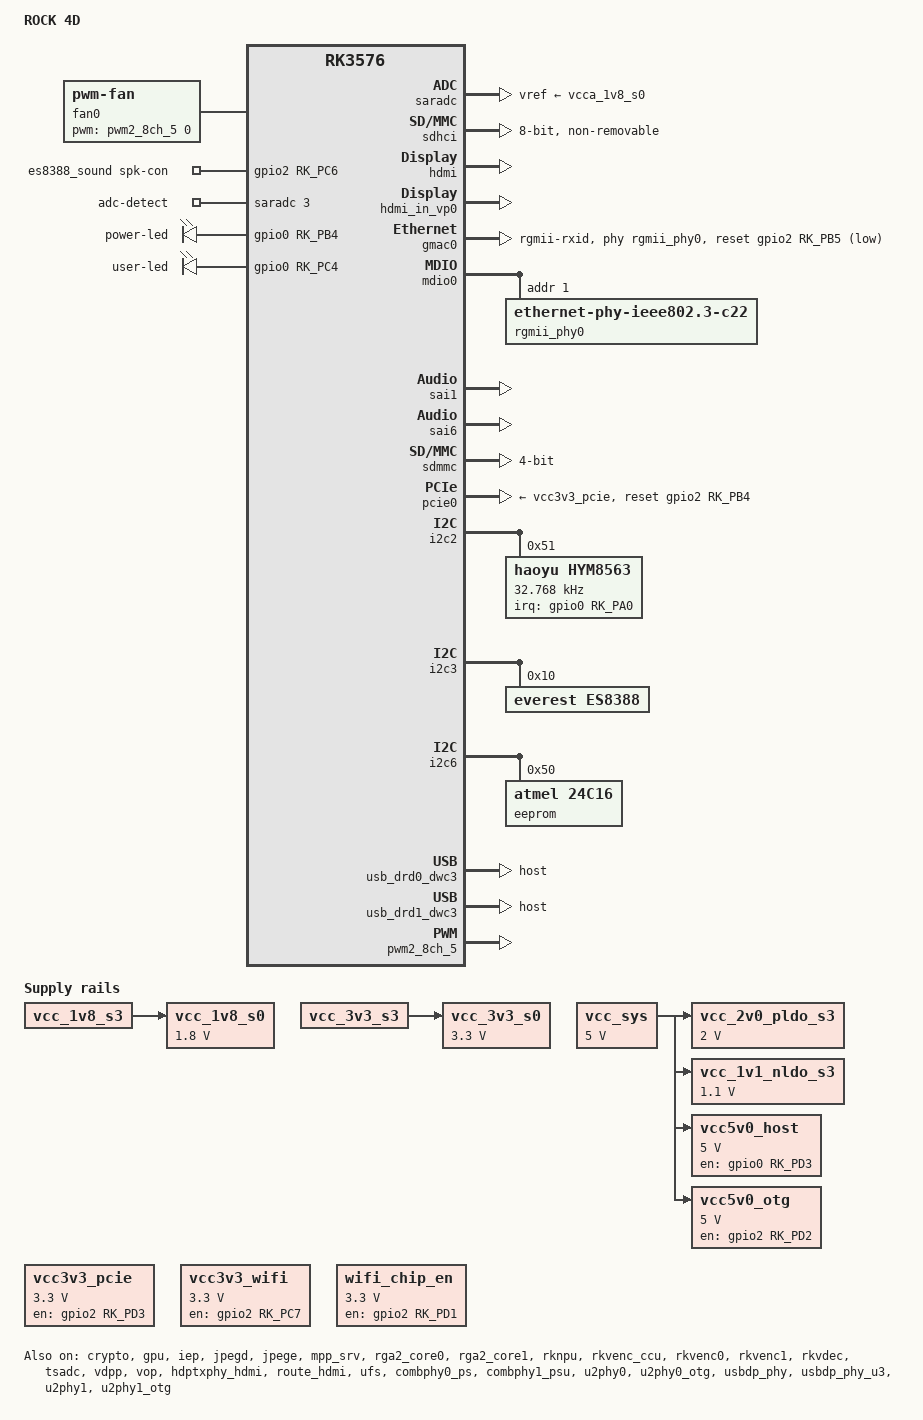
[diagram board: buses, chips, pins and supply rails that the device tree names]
// SPDX-License-Identifier: (GPL-2.0+ OR MIT)
/*
 * Copyright (c) 2024 Rockchip Electronics Co., Ltd.
 * Copyright (c) 2025 Radxa Computer (Shenzhen) Co., Ltd.
 *
 */

/dts-v1/;
#include <dt-bindings/usb/pd.h>
#include <dt-bindings/gpio/gpio.h>
#include <dt-bindings/pwm/pwm.h>
#include <dt-bindings/pinctrl/rockchip.h>
#include <dt-bindings/input/rk-input.h>
#include <dt-bindings/display/drm_mipi_dsi.h>
#include <dt-bindings/display/rockchip_vop.h>
#include <dt-bindings/sensor-dev.h>
#include "rk3576.dtsi"
#include "rk3576-linux.dtsi"
#include "rk3576-rk806.dtsi"
#include "rk3576-rock-4d-panel.dtsi"

/ {
	model = "ROCK 4D";
	compatible = "radxa,rock-4d", "rockchip,rk3576";

	fan0: pwm-fan {
		compatible = "pwm-fan";
		#cooling-cells = <2>;
		cooling-levels = <0 64 128 192 255>;
		pwms = <&pwm2_8ch_5 0 60000 0>;
	};

	vcc_sys: vcc5v0-sys {
		compatible = "regulator-fixed";
		regulator-name = "vcc_sys";
		regulator-always-on;
		regulator-boot-on;
		regulator-min-microvolt = <5000000>;
		regulator-max-microvolt = <5000000>;
	};

	vcc_2v0_pldo_s3: vcc-2v0-pldo-s3 {
		compatible = "regulator-fixed";
		regulator-name = "vcc_2v0_pldo_s3";
		regulator-boot-on;
		regulator-always-on;
		regulator-min-microvolt = <2000000>;
		regulator-max-microvolt = <2000000>;
		vin-supply = <&vcc_sys>;
	};

	vcc_1v1_nldo_s3: vcc-1v1-nldo-s3 {
		compatible = "regulator-fixed";
		regulator-name = "vcc_1v1_nldo_s3";
		regulator-boot-on;
		regulator-always-on;
		regulator-min-microvolt = <1100000>;
		regulator-max-microvolt = <1100000>;
		vin-supply = <&vcc_sys>;
	};

	vcc_1v8_s0: vcc-1v8-s0 {
		compatible = "regulator-fixed";
		regulator-name = "vcc_1v8_s0";
		regulator-boot-on;
		regulator-always-on;
		regulator-min-microvolt = <1800000>;
		regulator-max-microvolt = <1800000>;
		vin-supply = <&vcc_1v8_s3>;
	};

	vcc_3v3_s0: vcc-3v3-s0 {
		compatible = "regulator-fixed";
		regulator-name = "vcc_3v3_s0";
		regulator-boot-on;
		regulator-always-on;
		regulator-min-microvolt = <3300000>;
		regulator-max-microvolt = <3300000>;
		vin-supply = <&vcc_3v3_s3>;
	};

	vcc5v0_host: vcc5v0-host {
		compatible = "regulator-fixed";
		regulator-name = "vcc5v0_host";
		regulator-boot-on;
		regulator-always-on;
		regulator-min-microvolt = <5000000>;
		regulator-max-microvolt = <5000000>;
		enable-active-high;
		gpio = <&gpio0 RK_PD3 GPIO_ACTIVE_HIGH>;
		pinctrl-names = "default";
		pinctrl-0 = <&usb_host_pwren>;
		vin-supply = <&vcc_sys>;
	};

	vcc5v0_otg: vcc5v0-otg {
		compatible = "regulator-fixed";
		regulator-name = "vcc5v0_otg";
		regulator-min-microvolt = <5000000>;
		regulator-max-microvolt = <5000000>;
		enable-active-high;
		gpio = <&gpio2 RK_PD2 GPIO_ACTIVE_HIGH>;
		pinctrl-names = "default";
		pinctrl-0 = <&usb_otg_pwren>;
		vin-supply = <&vcc_sys>;
	};

	vcc3v3_pcie: vcc3v3-pcie {
		compatible = "regulator-fixed";
		regulator-name = "vcc3v3_pcie";
		regulator-min-microvolt = <3300000>;
		regulator-max-microvolt = <3300000>;
		enable-active-high;
		gpios = <&gpio2 RK_PD3 GPIO_ACTIVE_HIGH>;
		startup-delay-us = <5000>;
		pinctrl-names = "default";
		pinctrl-0 = <&pcie_pwr_en>;
	};

	vcc3v3_wifi: vcc3v3-wifi {
		compatible = "regulator-fixed";
		regulator-name = "vcc3v3_wifi";
		regulator-min-microvolt = <3300000>;
		regulator-max-microvolt = <3300000>;
		regulator-boot-on;
		regulator-always-on;
		enable-active-high;
		gpios = <&gpio2 RK_PC7 GPIO_ACTIVE_HIGH>;
		startup-delay-us = <5000>;
		pinctrl-names = "default";
		pinctrl-0 = <&usb_wifi_power_en>;
	};

	wifi_chip_en: wifi-chip-en {
		compatible = "regulator-fixed";
		regulator-name = "wifi_chip_en";
		regulator-min-microvolt = <3300000>;
		regulator-max-microvolt = <3300000>;
		regulator-boot-on;
		regulator-always-on;
		enable-active-high;
		gpios = <&gpio2 RK_PD1 GPIO_ACTIVE_HIGH>;
		startup-delay-us = <5000>;
		pinctrl-names = "default";
		pinctrl-0 = <&wifi_chip_en_pin>;
	};


	hdmi_sound: hdmi-sound {
		compatible = "rockchip,hdmi";
		rockchip,mclk-fs = <128>;
		rockchip,card-name = "rockchip-hdmi0";
		rockchip,cpu = <&sai6>;
		rockchip,codec = <&hdmi>;
		rockchip,jack-det;
	};

	es8388_sound: es8388-sound {
		status = "okay";
		compatible = "rockchip,multicodecs-card";
		rockchip,card-name = "rockchip-es8388";
		io-channels = <&saradc 3>;
		io-channel-names = "adc-detect";
		keyup-threshold-microvolt = <1800000>;
		poll-interval = <100>;
		spk-con-gpio = <&gpio2 RK_PC6 GPIO_ACTIVE_HIGH>;
		rockchip,pre-power-on-delay-ms = <30>;
		rockchip,post-power-down-delay-ms = <40>;
		rockchip,format = "i2s";
		rockchip,mclk-fs = <256>;
		rockchip,cpu = <&sai1>;
		rockchip,codec = <&es8388>;
		rockchip,audio-routing =
			"Headphone", "LOUT1",
			"Headphone", "ROUT1",
			"Speaker", "LOUT2",
			"Speaker", "ROUT2",
			"Headphone", "Headphone Power",
			"Headphone", "Headphone Power",
			"Speaker", "Speaker Power",
			"Speaker", "Speaker Power",
			"LINPUT1", "Main Mic",
			"LINPUT2", "Main Mic",
			"RINPUT1", "Headset Mic",
			"RINPUT2", "Headset Mic";
	};

	gpio-leds {
		compatible = "gpio-leds";

		power-led {
			gpios = <&gpio0 RK_PB4 GPIO_ACTIVE_HIGH>;
			linux,default-trigger = "default-on";
		};

		user-led {
			gpios = <&gpio0 RK_PC4 GPIO_ACTIVE_HIGH>;
			linux,default-trigger = "heartbeat";
		};
	};
};

&cpu_l0 {
	cpu-supply = <&vdd_cpu_lit_s0>;
};

&cpu_b0 {
	cpu-supply = <&vdd_cpu_big_s0>;
};

&crypto {
	status = "okay";
};

&gpu {
	mali-supply = <&vdd_gpu_s0>;
	status = "okay";
};

&iep {
	status = "okay";
};

&iep_mmu {
	status = "okay";
};

&jpegd {
	status = "okay";
};

&jpege {
	status = "okay";
};

&jpeg_mmu {
	status = "okay";
};

&mpp_srv {
	status = "okay";
};

&rga2_core0 {
	status = "okay";
};

&rga2_core0_mmu {
	status = "okay";
};

&rga2_core1 {
	status = "okay";
};

&rga2_core1_mmu {
	status = "okay";
};

&rknpu {
	rknpu-supply = <&vdd_npu_s0>;
	status = "okay";
};

&rknpu_mmu {
	status = "okay";
};

&rkvenc_ccu {
	status = "okay";
};

&rkvenc0 {
	status = "okay";
};

&rkvenc0_mmu {
	status = "okay";
};

&rkvenc1 {
	status = "okay";
};

&rkvenc1_mmu {
	status = "okay";
};

&rkvdec {
	status = "okay";
};

&rkvdec_mmu {
	status = "okay";
};

&rockchip_suspend {
	status = "okay";
	rockchip,sleep-debug-en = <1>;

	rockchip,sleep-io-ret-config = <
		(0
		| RKPM_VCCIO3_RET_EN
		)
	>;

	rockchip,regulator-on-before-mem = <&vdd_npu_s0>;
};

&vdd_logic_s0 {
	regulator-state-mem {
		regulator-on-in-suspend;
	};
};

&vcca_1v8_s0 {
	regulator-state-mem {
		regulator-on-in-suspend;
	};
};

&saradc {
	status = "okay";
	vref-supply = <&vcca_1v8_s0>;
};

&tsadc {
	status = "okay";
};

&threshold {
	temperature = <60000>;
};

&little_core_thermal {
	sustainable-power = <5000>; /* milliwatts */
	cooling-maps {
		map3 {
			trip = <&target>;
			cooling-device =
				<&fan0 THERMAL_NO_LIMIT THERMAL_NO_LIMIT>;
			contribution = <8192>;
		};
		map4 {
			trip = <&threshold>;
			cooling-device =
				<&fan0 THERMAL_NO_LIMIT THERMAL_NO_LIMIT>;
			contribution = <8192>;
		};
	};
};

&sdhci {
	bus-width = <8>;
	no-sdio;
	no-sd;
	non-removable;
	max-frequency = <200000000>;
	mmc-hs400-1_8v;
	mmc-hs400-enhanced-strobe;
	full-pwr-cycle-in-suspend;
	status = "okay";
};

&vdpp {
	status = "okay";
};

&vop {
	status = "okay";
	vop-supply = <&vdd_logic_s0>;
};

&vop_mmu {
	status = "okay";
};

&vp2 {
	assigned-clocks = <&cru DCLK_VP2_SRC>;
	assigned-clock-parents = <&cru PLL_VPLL>;
};

&display_subsystem {
	clocks = <&hdptxphy_hdmi>;
	clock-names = "hdmi0_phy_pll";
};

&hdmi {
	status = "okay";
	cec-enable;
	enable-gpios = <&gpio2 RK_PB0 GPIO_ACTIVE_HIGH>;
};

&hdmi_in_vp0 {
	status = "okay";
};

&hdptxphy_hdmi {
	status = "okay";
};

&route_hdmi {
	status = "okay";
	connect = <&vp0_out_hdmi>;
};

&vp0 {
	rockchip,plane-mask = <(1 << ROCKCHIP_VOP2_CLUSTER0 | 1 << ROCKCHIP_VOP2_ESMART0)>;
	rockchip,primary-plane = <ROCKCHIP_VOP2_CLUSTER0>;
	cursor-win-id = <ROCKCHIP_VOP2_ESMART0>;
};

&vp1 {
	rockchip,plane-mask = <(1 << ROCKCHIP_VOP2_CLUSTER1 | 1 << ROCKCHIP_VOP2_ESMART1)>;
	rockchip,primary-plane = <ROCKCHIP_VOP2_CLUSTER1>;
	cursor-win-id = <ROCKCHIP_VOP2_ESMART1>;
};

&vp2 {
	rockchip,plane-mask = <(1 << ROCKCHIP_VOP2_ESMART2 | 1 << ROCKCHIP_VOP2_ESMART3)>;
	rockchip,primary-plane = <ROCKCHIP_VOP2_ESMART2>;
	cursor-win-id = <ROCKCHIP_VOP2_ESMART3>;
};

&gmac0 {
	/* Use rgmii-rxid mode to disable rx delay inside Soc */
	phy-mode = "rgmii-rxid";
	clock_in_out = "output";

	snps,reset-gpio = <&gpio2 RK_PB5 GPIO_ACTIVE_LOW>;
	snps,reset-active-low;
	/* Reset time is 20ms, 100ms for rtl8211f */
	snps,reset-delays-us = <0 20000 100000>;

	pinctrl-names = "default";
	pinctrl-0 = <&eth0m0_miim
		     &eth0m0_tx_bus2
		     &eth0m0_rx_bus2
		     &eth0m0_rgmii_clk
		     &eth0m0_rgmii_bus
		     &ethm0_clk0_25m_out>;

	tx_delay = <0x20>;
	/* rx_delay = <0x3f>; */

	phy-handle = <&rgmii_phy0>;
	status = "okay";
};

&mdio0 {
	rgmii_phy0: phy@1 {
		compatible = "ethernet-phy-ieee802.3-c22";
		reg = <0x1>;
		clocks = <&cru REFCLKO25M_GMAC0_OUT>;
	};
};

&sai1 {
	status = "okay";
	pinctrl-names = "default";
	pinctrl-0 = <&sai1m0_lrck
		     &sai1m0_sclk
		     &sai1m0_sdi0
		     &sai1m0_sdo0>;
};

&sai6 {
	status = "okay";
};

&ufs {
	status = "okay";
	reset-gpios = <&gpio4 RK_PD0 GPIO_ACTIVE_HIGH>;
};

&sdmmc {
	max-frequency = <200000000>;
	no-sdio;
	no-mmc;
	bus-width = <4>;
	cap-mmc-highspeed;
	cap-sd-highspeed;
	disable-wp;
	sd-uhs-sdr104;
	vqmmc-supply = <&vccio_sd_s0>;
	status = "okay";
};

&combphy0_ps {
	status = "okay";
};

&combphy1_psu {
	status = "okay";
};

&pcie0 {
	reset-gpios = <&gpio2 RK_PB4 GPIO_ACTIVE_HIGH>;
	rockchip,skip-scan-in-resume;
	vpcie3v3-supply = <&vcc3v3_pcie>;
	status = "okay";
};

&i2c2 {
	status = "okay";

	hym8563: hym8563@51 {
		compatible = "haoyu,hym8563";
		reg = <0x51>;
		#clock-cells = <0>;
		clock-frequency = <32768>;
		clock-output-names = "hym8563";
		pinctrl-names = "default";
		pinctrl-0 = <&hym8563_int>;
		interrupt-parent = <&gpio0>;
		interrupts = <RK_PA0 IRQ_TYPE_LEVEL_LOW>;
		wakeup-source;
	};
};

&i2c3 {
	status = "okay";

	es8388: es8388@10 {
		status = "okay";
		#sound-dai-cells = <0>;
		compatible = "everest,es8388", "everest,es8323";
		reg = <0x10>;
		clocks = <&mclkout_sai1>;
		clock-names = "mclk";
		assigned-clocks = <&mclkout_sai1>;
		assigned-clock-rates = <12288000>;
		pinctrl-names = "default";
		pinctrl-0 = <&sai1m0_mclk>;
	};
};

&i2c6 {
	status = "okay";
	pinctrl-names = "default";
	pinctrl-0 = <&i2c6m3_xfer>;

	eeprom:	at24c16@50 {
		status = "okay";
		compatible = "atmel,24c16";
		reg = <0x50>;
		pagesize = <16>;
	};
};

&u2phy0 {
	status = "okay";
};

&u2phy0_otg {
	vbus-supply = <&vcc5v0_otg>;
	status = "okay";
};

&usb_drd0_dwc3 {
	extcon = <&u2phy0>;
	dr_mode = "host";
	status = "okay";
};

&usbdp_phy {
	rockchip,dp-lane-mux = <2 3>;
	status = "okay";
};

&usbdp_phy_dp {
	status = "disabled";
};

&usbdp_phy_u3 {
	status = "okay";
};

&u2phy1 {
	status = "okay";
};

&u2phy1_otg {
	phy-supply = <&vcc5v0_host>;
	status = "okay";
};

&usb_drd1_dwc3 {
	dr_mode = "host";
	status = "okay";
};

&pwm2_8ch_5 {
	pinctrl-0 = <&pwm2m1_ch5>;
	status = "okay";
};

&pinctrl {
	usb {
		usb_host_pwren: usb-host-pwren {
			rockchip,pins = <0 RK_PD3 RK_FUNC_GPIO &pcfg_pull_none>;
		};

		usb_otg_pwren: usb-otg-pwren {
			rockchip,pins = <2 RK_PD2 RK_FUNC_GPIO &pcfg_pull_none>;
		};
	};

	hym8563 {
		hym8563_int: hym8563-int {
			rockchip,pins = <0 RK_PA0 RK_FUNC_GPIO &pcfg_pull_up>;
		};
	};

	pcie {
		pcie_pwr_en: pcie-pwr-en {
			rockchip,pins = <2 RK_PD3 RK_FUNC_GPIO &pcfg_pull_none>;
		};
	};

	wifi {
		usb_wifi_power_en: usb-wifi-power-en {
			rockchip,pins = <2 RK_PC7 RK_FUNC_GPIO &pcfg_pull_none>;
		};

		wifi_chip_en_pin: wifi-chip-en-pin {
			rockchip,pins = <2 RK_PD1 RK_FUNC_GPIO &pcfg_pull_none>;
		};
	};
};

&gpio0 {
	gpio-line-names =
		/* GPIO0_A0-A3 */
		"", "", "", "",
		/* GPIO0_A4-A7 */
		"", "", "", "",

		/* GPIO0_B0-B3 */
		"", "", "", "",
		/* GPIO0_B4-B7 */
		"", "", "", "",

		/* GPIO0_C0-C3 */
		"", "", "", "",
		/* GPIO0_C4-C7 */
		"", "", "", "",

		/* GPIO0_D0-D3 */
		"", "", "", "",
		/* GPIO0_D4-D7 */
		"PIN_8", "PIN_10", "", "";
};

&gpio1 {
	gpio-line-names =
		/* GPIO1_A0-A3 */
		"", "", "", "",
		/* GPIO1_A4-A7 */
		"", "", "", "",

		/* GPIO1_B0-B3 */
		"", "", "", "",
		/* GPIO1_B4-B7 */
		"PIN_23", "PIN_19", "PIN_21", "PIN_24",

		/* GPIO1_C0-C3 */
		"PIN_26", "PIN_31", "PIN_33", "PIN_7",
		/* GPIO1_C4-C7 */
		"PIN_11", "PIN_15", "PIN_5", "PIN_3",

		/* GPIO1_D0-D3 */
		"PIN_40", "PIN_12", "PIN_35", "PIN_38",
		/* GPIO1_D4-D7 */
		"PIN_36", "PIN_32", "", "";
};

&gpio2 {
	gpio-line-names =
		/* GPIO2_A0-A3 */
		"", "", "", "",
		/* GPIO2_A4-A7 */
		"", "", "", "",

		/* GPIO2_B0-B3 */
		"", "", "", "",
		/* GPIO2_B4-B7 */
		"", "", "PIN_16", "PIN_18",

		/* GPIO2_C0-C3 */
		"PIN_13", "", "", "",
		/* GPIO2_C4-C7 */
		"", "", "", "",

		/* GPIO2_D0-D3 */
		"", "", "", "",
		/* GPIO2_D4-D7 */
		"", "", "", "PIN_22";
};

&gpio3 {
	gpio-line-names =
		/* GPIO3_A0-A3 */
		"", "", "PIN_29", "PIN_37",
		/* GPIO3_A4-A7 */
		"", "", "", "",

		/* GPIO3_B0-B3 */
		"", "", "", "",
		/* GPIO3_B4-B7 */
		"", "", "", "",

		/* GPIO3_C0-C3 */
		"", "", "", "",
		/* GPIO3_C4-C7 */
		"", "", "", "",

		/* GPIO3_D0-D3 */
		"", "", "", "",
		/* GPIO3_D4-D7 */
		"", "", "", "";
};

&gpio4 {
	gpio-line-names =
		/* GPIO4_A0-A3 */
		"", "", "", "",
		/* GPIO4_A4-A7 */
		"", "", "", "",

		/* GPIO4_B0-B3 */
		"", "", "", "",
		/* GPIO4_B4-B7 */
		"", "", "", "",

		/* GPIO4_C0-C3 */
		"", "", "", "",
		/* GPIO4_C4-C7 */
		"", "", "PIN_28", "PIN_27",

		/* GPIO4_D0-D3 */
		"", "", "", "",
		/* GPIO4_D4-D7 */
		"", "", "", "";
};

